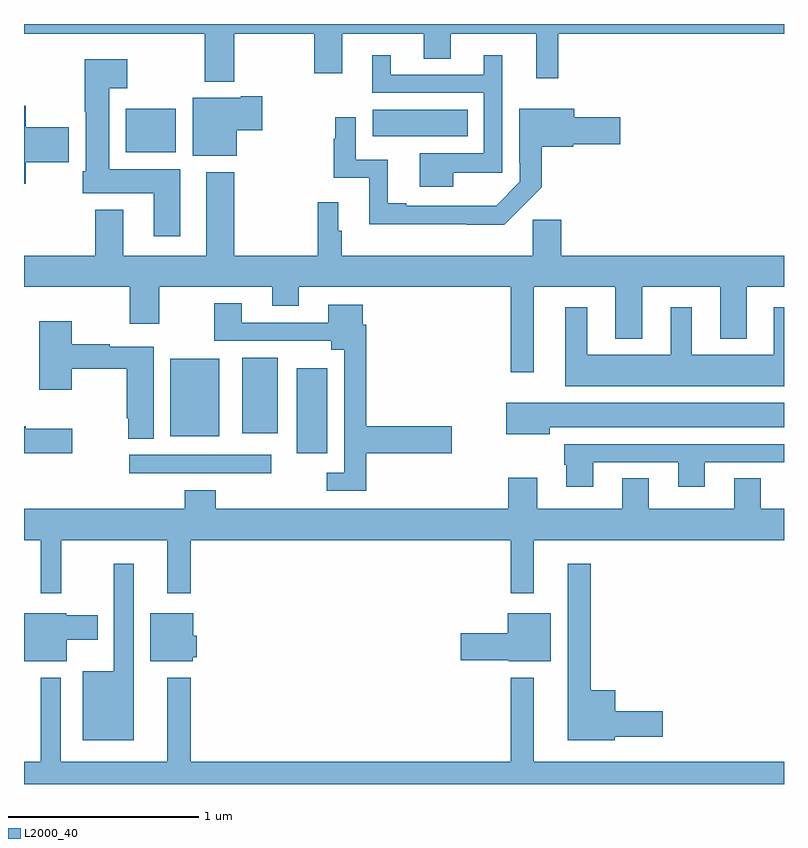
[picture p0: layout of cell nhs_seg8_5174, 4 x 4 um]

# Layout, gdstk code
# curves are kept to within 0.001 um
import gdstk
lib = gdstk.Library(unit=1e-6, precision=1e-09)
def R(c, l, rs):  # rectangles x0, y0, x1, y1
    for r in rs: c.add(gdstk.rectangle(r[:2], r[2:], *l))
def P(c, l, *ps):  # polygons
    for p in ps: c.add(gdstk.Polygon(p, *l))
L2000_40 = (2000, 40)

nhs_seg8_5174 = lib.new_cell('nhs_seg8_5174')
R(nhs_seg8_5174, L2000_40, [(423.555,1099.536,424.3,1099.632), (424.436,1099.641,424.597,1100.089), (423.77,1099.73,424.027,1100.137), (424.148,1099.745,424.336,1100.143), (423.536,1101.224,423.799,1101.454), (424.836,1101.308,425.336,1101.448)])
P(nhs_seg8_5174, L2000_40, [(424.107,1101.848),(424.528,1101.848),(424.528,1101.642),(424.675,1101.642),(424.675,1101.848),(425.105,1101.848),(425.105,1101.718),(425.245,1101.718),(425.245,1101.848),(425.696,1101.848),(425.696,1101.615),(425.813,1101.615),(425.813,1101.848),(427,1101.848),(427,1101.9),(423,1101.9),(423,1101.848),(423.952,1101.848),(423.952,1101.596),(424.107,1101.596)],
  [(425.26,1101.116),(425.517,1101.116),(425.517,1101.736),(425.42,1101.736),(425.42,1101.633),(424.93,1101.633),(424.93,1101.736),(424.832,1101.736),(424.832,1101.537),(425.421,1101.537),(425.421,1101.22),(425.084,1101.22),(425.084,1101.044),(425.26,1101.044)],
  [(423.823,1101.136),(423.448,1101.136),(423.448,1101.563),(423.544,1101.563),(423.544,1101.715),(423.319,1101.715),(423.319,1101.439),(423.326,1101.439),(423.326,1101.126),(423.308,1101.126),(423.308,1101.008),(423.683,1101.008),(423.683,1100.784),(423.823,1100.784)],
  [(424.12,1101.341),(424.255,1101.341),(424.255,1101.519),(424.142,1101.519),(424.142,1101.511),(423.887,1101.511),(423.887,1101.206),(424.12,1101.206)],
  [(423.01,1101.173),(423.235,1101.173),(423.235,1101.356),(423.01,1101.356),(423.01,1101.469),(423,1101.469),(423,1101.059),(423.01,1101.059)],
  [(425.726,1101.041),(425.726,1101.253),(425.892,1101.253),(425.892,1101.266),(426.139,1101.266),(426.139,1101.408),(425.896,1101.408),(425.896,1101.454),(425.607,1101.454),(425.607,1101.169),(425.61,1101.169),(425.61,1101.069),(425.485,1100.944),(425.011,1100.943),(425.011,1100.956),(424.915,1100.956),(424.915,1101.186),(424.746,1101.186),(424.746,1101.409),(424.638,1101.409),(424.638,1101.296),(424.63,1101.296),(424.63,1101.09),(424.817,1101.09),(424.817,1100.846),(425.329,1100.846),(425.329,1100.844),(425.528,1100.844)],
  [(425.683,1100.516),(426.113,1100.516),(426.113,1100.243),(426.253,1100.243),(426.253,1100.516),(426.665,1100.516),(426.665,1100.243),(426.805,1100.243),(426.805,1100.516),(427,1100.516),(427,1100.68),(425.828,1100.68),(425.828,1100.871),(425.677,1100.871),(425.677,1100.68),(424.673,1100.68),(424.673,1100.813),(424.654,1100.813),(424.654,1100.962),(424.545,1100.962),(424.545,1100.68),(424.107,1100.68),(424.107,1101.121),(423.959,1101.121),(423.959,1100.68),(423.523,1100.68),(423.523,1100.923),(423.376,1100.923),(423.376,1100.68),(423,1100.68),(423,1100.516),(423.556,1100.516),(423.556,1100.322),(423.711,1100.322),(423.711,1100.516),(424.307,1100.516),(424.307,1100.417),(424.447,1100.417),(424.447,1100.516),(425.562,1100.516),(425.562,1100.067),(425.683,1100.067)],
  [(424.802,1099.642),(425.251,1099.642),(425.251,1099.784),(424.802,1099.784),(424.802,1100.318),(424.783,1100.318),(424.783,1100.422),(424.601,1100.422),(424.601,1100.328),(424.147,1100.328),(424.147,1100.431),(424,1100.431),(424,1100.232),(424.616,1100.232),(424.616,1100.186),(424.686,1100.186),(424.686,1099.539),(424.593,1099.539),(424.593,1099.443),(424.802,1099.443)],
  [(427,1100.41),(426.947,1100.41),(426.947,1100.158),(426.514,1100.158),(426.514,1100.41),(426.404,1100.41),(426.404,1100.158),(425.965,1100.158),(425.965,1100.41),(425.849,1100.41),(425.849,1099.994),(427,1099.994)],
  [(423.682,1100.202),(423.452,1100.202),(423.452,1100.215),(423.252,1100.215),(423.252,1100.335),(423.079,1100.335),(423.079,1099.974),(423.252,1099.974),(423.252,1100.086),(423.541,1100.086),(423.541,1099.825),(423.548,1099.825),(423.548,1099.717),(423.682,1099.717)],
  [(425.767,1099.778),(427,1099.778),(427,1099.906),(425.538,1099.906),(425.538,1099.742),(425.767,1099.742)],
  [(423.253,1099.771),(423.009,1099.771),(423.009,1099.784),(423,1099.784),(423,1099.642),(423.253,1099.642)],
  [(425.995,1099.593),(426.443,1099.593),(426.443,1099.464),(426.583,1099.464),(426.583,1099.593),(427,1099.593),(427,1099.689),(425.843,1099.689),(425.843,1099.581),(425.855,1099.581),(425.855,1099.464),(425.995,1099.464)],
  [(423.196,1099.184),(423.755,1099.184),(423.755,1098.903),(423.877,1098.903),(423.877,1099.184),(425.562,1099.184),(425.562,1098.903),(425.683,1098.903),(425.683,1099.184),(427,1099.184),(427,1099.348),(426.877,1099.348),(426.877,1099.508),(426.737,1099.508),(426.737,1099.348),(426.289,1099.348),(426.289,1099.508),(426.149,1099.508),(426.149,1099.348),(425.701,1099.348),(425.701,1099.513),(425.549,1099.513),(425.549,1099.348),(424.01,1099.348),(424.01,1099.447),(423.845,1099.447),(423.845,1099.348),(423,1099.348),(423,1099.184),(423.089,1099.184),(423.089,1098.903),(423.196,1098.903)],
  [(423.577,1099.06),(423.473,1099.06),(423.473,1098.493),(423.308,1098.493),(423.308,1098.131),(423.577,1098.131)],
  [(426.108,1098.149),(426.361,1098.149),(426.361,1098.284),(426.112,1098.284),(426.112,1098.394),(425.983,1098.394),(425.983,1099.06),(425.861,1099.06),(425.861,1098.131),(426.108,1098.131)],
  [(423.226,1098.659),(423.388,1098.659),(423.388,1098.789),(423.222,1098.789),(423.222,1098.799),(423,1098.799),(423,1098.545),(423.226,1098.545)],
  [(423.888,1098.567),(423.91,1098.567),(423.91,1098.681),(423.892,1098.681),(423.892,1098.799),(423.665,1098.799),(423.665,1098.545),(423.888,1098.545)],
  [(425.773,1098.799),(425.546,1098.799),(425.546,1098.693),(425.298,1098.693),(425.298,1098.551),(425.55,1098.551),(425.55,1098.545),(425.773,1098.545)],
  [(427,1098.016),(425.683,1098.016),(425.683,1098.46),(425.562,1098.46),(425.562,1098.016),(423.877,1098.016),(423.877,1098.46),(423.755,1098.46),(423.755,1098.016),(423.193,1098.016),(423.193,1098.46),(423.089,1098.46),(423.089,1098.016),(423,1098.016),(423,1097.9),(427,1097.9)])

lib.write_gds('nhs_seg8_5174.gds')
